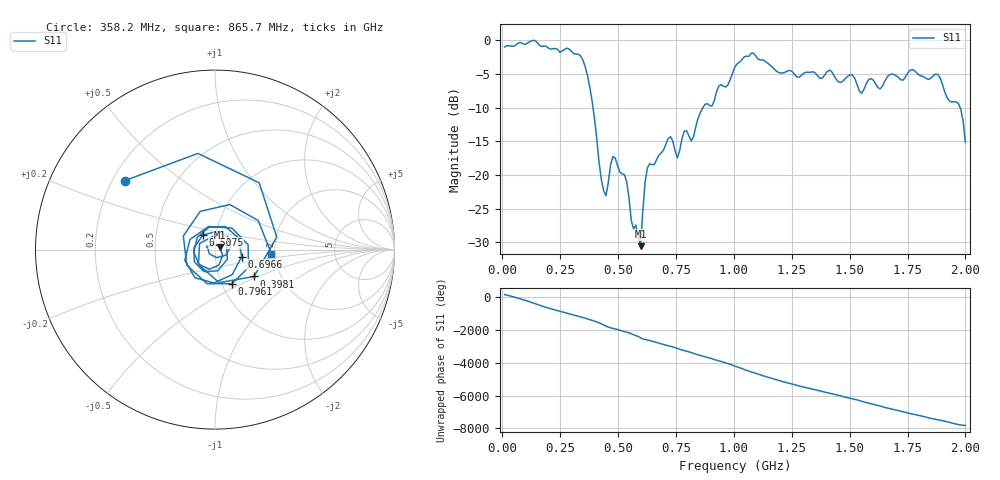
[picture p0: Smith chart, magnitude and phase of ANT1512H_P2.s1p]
!Created with skrf (http://scikit-rf.org).
# Hz S RI R 50.0
!freq ReS11 ImS11
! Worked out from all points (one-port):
!   201 points, 10 MHz to 2 GHz, reference 50 ohm
!   lowest |S11| = -30.5 dB at 597 MHz (marker M1), VSWR 1.06, Z = 52.6 + j1.56 ohm
!   |S11| at or under -10 dB: 391.8 MHz to 866.5 MHz (474.7 MHz wide, 75.5 % of centre); 1.977 GHz to end of sweep
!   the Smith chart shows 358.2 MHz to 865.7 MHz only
!   S11 on the Smith chart (normalised r, x): 358.2 MHz: 0.25, +0.32; 398.1 MHz: 1.47, -0.47; 507.5 MHz: 0.86, +0.14; 696.5 MHz: 1.34, -0.11; 796 MHz: 1.12, -0.44; 865.7 MHz: 1.91, -0.09
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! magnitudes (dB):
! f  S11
! 10 MHz  -1.0
! 258.8 MHz  -1.6
! 358.2 MHz  -4.0
! 398.1 MHz  -11.6
! 437.9 MHz  -22.4
! 447.8 MHz  -23.1
! 477.6 MHz  -17.3
! 507.5 MHz  -19.5
! 537.4 MHz  -21.0
! 557.2 MHz  -26.8
! 597 MHz  -30.5
! 617 MHz  -21.0
! 626.9 MHz  -18.9
! 696.5 MHz  -16.3
! 726.4 MHz  -14.3
! 756.2 MHz  -17.5
! 796 MHz  -13.5
! 816 MHz  -14.9
! 865.7 MHz  -10.0
! 1.005 GHz  -4.0
! 1.085 GHz  -1.9
! 1.254 GHz  -4.7
! 1.502 GHz  -5.1
! 1.552 GHz  -7.9
! 1.751 GHz  -4.9
! 1.881 GHz  -5.1
! 1.98 GHz  -10.3
! 2 GHz  -15.2
